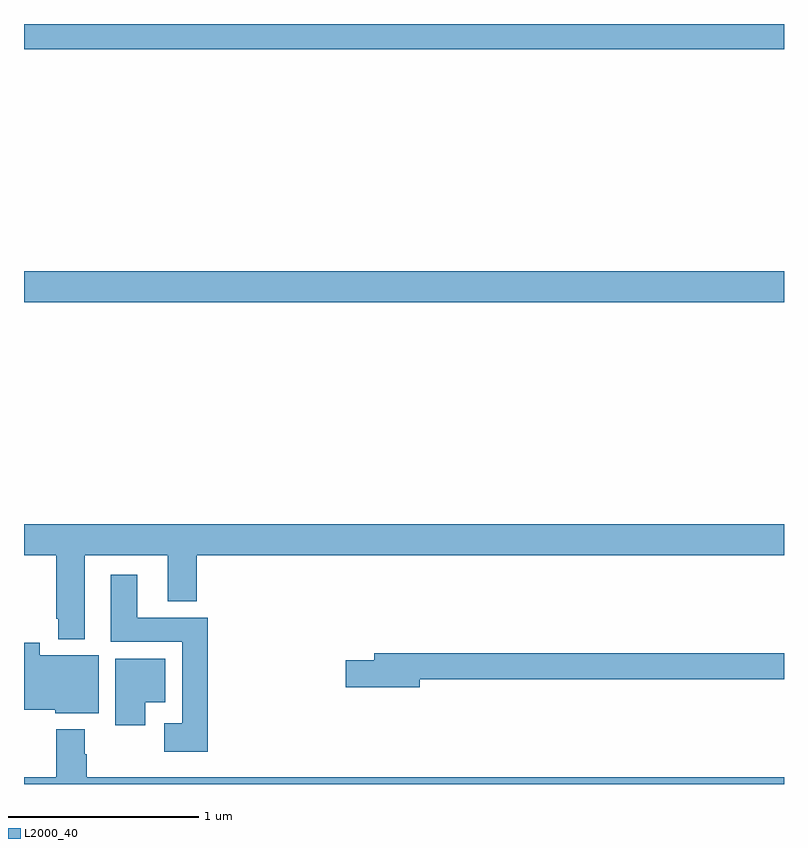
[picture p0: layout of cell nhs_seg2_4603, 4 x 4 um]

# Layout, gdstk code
import gdstk
lib = gdstk.Library(unit=1e-6, precision=1e-09)
def R(c, l, rs):  # rectangles x0, y0, x1, y1
    for r in rs: c.add(gdstk.rectangle(r[:2], r[2:], *l))
def P(c, l, *ps):  # polygons
    for p in ps: c.add(gdstk.Polygon(p, *l))
L2000_40 = (2000, 40)

nhs_seg2_4603 = lib.new_cell('nhs_seg2_4603')
R(nhs_seg2_4603, L2000_40, [(361,614.336,365,614.5), (361,615.668,365,615.8)])
P(nhs_seg2_4603, L2000_40, [(361.321,613.004),(361.757,613.004),(361.757,612.761),(361.91,612.761),(361.91,613.004),(365,613.004),(365,613.168),(361,613.168),(361,613.004),(361.169,613.004),(361.169,612.67),(361.181,612.67),(361.181,612.563),(361.321,612.563)],
  [(361.967,612.676),(361.597,612.676),(361.597,612.901),(361.457,612.901),(361.457,612.548),(361.832,612.548),(361.832,612.121),(361.737,612.121),(361.737,611.969),(361.967,611.969)],
  [(361.393,612.478),(361.084,612.478),(361.084,612.544),(361,612.544),(361,612.191),(361.164,612.191),(361.164,612.173),(361.393,612.173)],
  [(363.082,612.352),(365,612.352),(365,612.488),(362.843,612.488),(362.843,612.452),(362.694,612.452),(362.694,612.31),(363.082,612.31)],
  [(361.639,612.23),(361.744,612.23),(361.744,612.46),(361.481,612.46),(361.481,612.108),(361.639,612.108)],
  [(365,611.836),(361.329,611.836),(361.329,611.957),(361.321,611.957),(361.321,612.088),(361.169,612.088),(361.169,611.836),(361,611.836),(361,611.8),(365,611.8)])

lib.write_gds('nhs_seg2_4603.gds')
